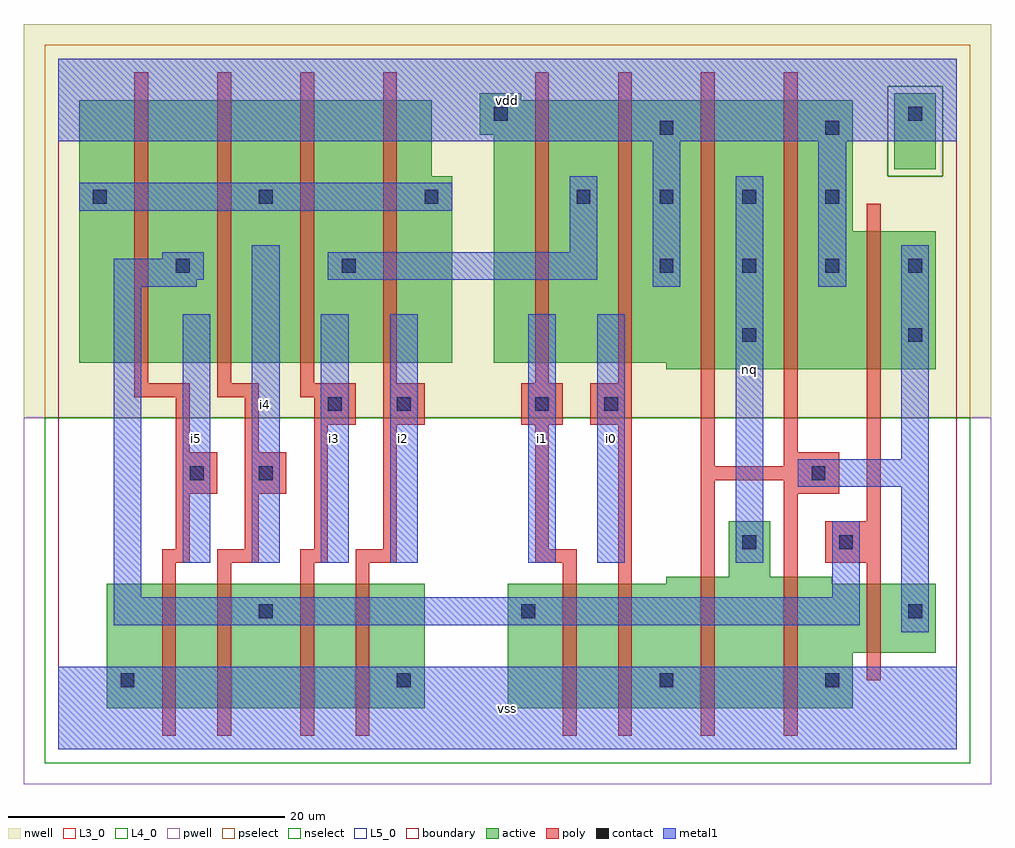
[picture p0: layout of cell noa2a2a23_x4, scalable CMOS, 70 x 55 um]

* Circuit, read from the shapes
.subckt noa2a2a23_x4 i0 i1 i2 i3 i4 i5 nq vdd vss
M1 n1 i5 vss VSUBS nfet w=9u l=1u
M2 n2 i4 n1 VSUBS nfet w=9u l=1u
M3 n3 i3 n2 VSUBS nfet w=9u l=1u
M4 vss i2 n3 VSUBS nfet w=9u l=1u
M5 n4 i1 n2 VSUBS nfet w=9u l=1u
M6 vss i0 n4 VSUBS nfet w=9u l=1u
M7 nq n5 vss VSUBS nfet w=9.5u l=1u m=2
M8 n5 n2 vss VSUBS nfet w=5u l=1u
M9 n2 i5 n6 vdd pfet w=19u l=1u
M10 n6 i4 n2 vdd pfet w=19u l=1u
M11 n7 i3 n6 vdd pfet w=19u l=1u
M12 n6 i2 n7 vdd pfet w=19u l=1u
M13 n7 i1 vdd vdd pfet w=19u l=1u
M14 vdd i0 n7 vdd pfet w=19u l=1u
M15 nq n5 vdd vdd pfet w=19.5u l=1u m=2
M16 n5 n2 vdd vdd pfet w=10u l=1u
.ends

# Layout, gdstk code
import gdstk
lib = gdstk.Library(unit=1e-6, precision=1e-09)
def R(c, l, rs):  # rectangles x0, y0, x1, y1
    for r in rs: c.add(gdstk.rectangle(r[:2], r[2:], *l))
def A(c, l, x, y, w, h, nx, ny, dx, dy):  # array of equal rectangles
    R(c, l, [(x+i*dx, y+j*dy, x+i*dx+w, y+j*dy+h) for i in range(nx) for j in range(ny)])
L3_0 = (3, 0)
L4_0 = (4, 0)
L5_0 = (5, 0)
contact = (25, 0)
pwell = (41, 0)
nwell = (42, 0)
active = (43, 0)
pselect = (44, 0)
nselect = (45, 0)
poly = (46, 0)
metal1 = (49, 0)
boundary = (63, 0)

noa2a2a23_x4 = lib.new_cell('noa2a2a23_x4')
R(noa2a2a23_x4, L3_0, [(3.5,3,26.5,12), (32.5,3,57.5,7), (32.5,7,63.5,12), (44,12,56,12.5), (48.5,12.5,51.5,16.5)])
R(noa2a2a23_x4, L4_0, [(44,27.5,63.5,28), (1.5,28,28.5,41.5), (31.5,28,63.5,37.5), (31.5,37.5,57.5,44.5), (1.5,41.5,27,47), (30.5,44.5,57.5,47), (30.5,47,33.5,47.5)])
R(noa2a2a23_x4, L5_0, [(60.5,42,63.5,47.5)])
A(noa2a2a23_x4, contact, 43.5, 34.5, 1, 1, 4, 1, 6, 0)
A(noa2a2a23_x4, contact, 2.5, 39.5, 1, 1, 3, 1, 12, 0)
A(noa2a2a23_x4, contact, 37.5, 39.5, 1, 1, 4, 1, 6, 0)
R(noa2a2a23_x4, contact, [(4.5,4.5,5.5,5.5), (24.5,4.5,25.5,5.5), (43.5,4.5,44.5,5.5), (55.5,4.5,56.5,5.5), (14.5,9.5,15.5,10.5), (33.5,9.5,34.5,10.5), (61.5,9.5,62.5,10.5), (49.5,14.5,50.5,15.5), (56.5,14.5,57.5,15.5), (9.5,19.5,10.5,20.5), (14.5,19.5,15.5,20.5), (54.5,19.5,55.5,20.5), (19.5,24.5,20.5,25.5), (24.5,24.5,25.5,25.5), (34.5,24.5,35.5,25.5), (39.5,24.5,40.5,25.5), (49.5,29.5,50.5,30.5), (61.5,29.5,62.5,30.5), (8.5,34.5,9.5,35.5), (20.5,34.5,21.5,35.5), (43.5,44.5,44.5,45.5), (55.5,44.5,56.5,45.5), (31.5,45.5,32.5,46.5), (61.5,45.5,62.5,46.5)])
R(noa2a2a23_x4, pwell, [(-2.5,-2.5,67.5,24)])
R(noa2a2a23_x4, nwell, [(-2.5,24,67.5,52.5)])
R(noa2a2a23_x4, active, [(3.5,3,26.5,12), (32.5,3,57.5,7), (32.5,7,63.5,12), (44,12,56,12.5), (48.5,12.5,51.5,16.5), (44,27.5,63.5,28), (1.5,28,28.5,41.5), (31.5,28,63.5,37.5), (31.5,37.5,57.5,44.5), (1.5,41.5,27,47), (60.5,42,63.5,47.5), (30.5,44.5,57.5,47), (30.5,47,33.5,47.5)])
R(noa2a2a23_x4, pselect, [(-1,24,66,41.5), (-1,41.5,60,48), (64,41.5,66,48), (-1,48,66,51)])
R(noa2a2a23_x4, nselect, [(-1,-1,66,24), (60,41.5,64,48)])
A(noa2a2a23_x4, poly, 5.5, 26.5, 1, 22.5, 4, 1, 6, 0)
R(noa2a2a23_x4, poly, [(7.5,1,8.5,13.5), (11.5,1,12.5,13.5), (17.5,1,18.5,13.5), (21.5,1,22.5,13.5), (36.5,1,37.5,13.5), (40.5,1,41.5,23.5), (46.5,1,47.5,19.5), (52.5,1,53.5,18.5), (58.5,5,59.5,13.5), (7.5,13.5,9.5,14.5), (11.5,13.5,14.5,14.5), (17.5,13.5,19.5,14.5), (21.5,13.5,24.5,14.5), (34.5,13.5,37.5,14.5), (55.5,13.5,59.5,16.5), (8.5,14.5,9.5,18.5), (13.5,14.5,14.5,18.5), (18.5,14.5,19.5,23.5), (23.5,14.5,24.5,23.5), (34.5,14.5,35.5,23.5), (58.5,16.5,59.5,39.5), (8.5,18.5,11.5,21.5), (13.5,18.5,16.5,21.5), (52.5,18.5,56.5,19.5), (46.5,19.5,56.5,20.5), (46.5,20.5,47.5,49), (52.5,20.5,56.5,21.5), (8.5,21.5,9.5,25.5), (13.5,21.5,14.5,25.5), (52.5,21.5,53.5,49), (18.5,23.5,21.5,25.5), (23.5,23.5,26.5,26.5), (33.5,23.5,36.5,26.5), (38.5,23.5,41.5,26.5), (5.5,25.5,9.5,26.5), (11.5,25.5,14.5,26.5), (17.5,25.5,21.5,26.5), (34.5,26.5,35.5,49), (40.5,26.5,41.5,49)])
R(noa2a2a23_x4, metal1, [(0,0,65,6), (0,0,65,6), (61,8.5,63,19), (61,8.5,63,19), (4,9,58,11), (4,9,58,11), (4,11,6,33.5), (4,11,6,33.5), (56,11,58,16.5), (56,11,58,16.5), (9,13.5,11,31.5), (9,13.5,11,31.5), (14,13.5,16,36.5), (14,13.5,16,36.5), (19,13.5,21,31.5), (19,13.5,21,31.5), (24,13.5,26,31.5), (24,13.5,26,31.5), (34,13.5,36,31.5), (34,13.5,36,31.5), (39,13.5,41,31.5), (39,13.5,41,31.5), (49,13.5,51,41.5), (49,13.5,51,41.5), (53.5,19,63,21), (53.5,19,63,21), (61,21,63,36.5), (61,21,63,36.5), (4,33.5,10,34), (4,33.5,10,34), (43,33.5,45,44), (43,33.5,45,44), (55,33.5,57,44), (55,33.5,57,44), (4,34,10.5,35.5), (4,34,10.5,35.5), (19.5,34,39,36), (19.5,34,39,36), (7.5,35.5,10.5,36), (7.5,35.5,10.5,36), (37,36,39,41.5), (37,36,39,41.5), (1.5,39,28.5,41), (1.5,39,28.5,41), (0,44,65,50), (0,44,65,50)])
R(noa2a2a23_x4, boundary, [(0,0,65,50)])
noa2a2a23_x4.add(gdstk.Label('i5', (10,22.5), layer=49, texttype=0))
noa2a2a23_x4.add(gdstk.Label('i3', (20,22.5), layer=49, texttype=0))
noa2a2a23_x4.add(gdstk.Label('i2', (25,22.5), layer=49, texttype=0))
noa2a2a23_x4.add(gdstk.Label('i4', (15,25), layer=49, texttype=0))
noa2a2a23_x4.add(gdstk.Label('vss', (32.5,3), layer=49, texttype=0))
noa2a2a23_x4.add(gdstk.Label('i0', (40,22.5), layer=49, texttype=0))
noa2a2a23_x4.add(gdstk.Label('i1', (35,22.5), layer=49, texttype=0))
noa2a2a23_x4.add(gdstk.Label('vdd', (32.5,47), layer=49, texttype=0))
noa2a2a23_x4.add(gdstk.Label('nq', (50,27.5), layer=49, texttype=0))

lib.write_gds('noa2a2a23_x4.gds')
